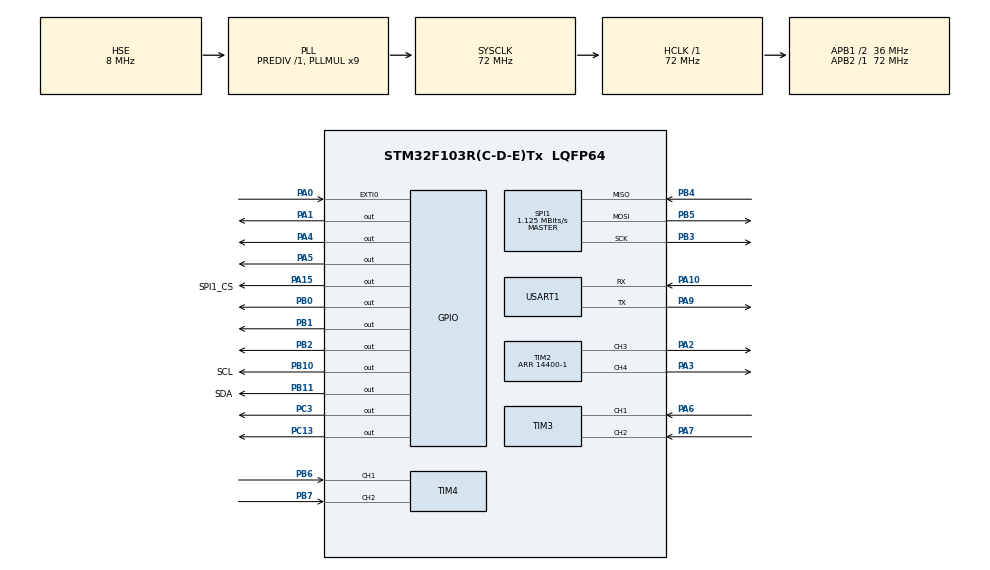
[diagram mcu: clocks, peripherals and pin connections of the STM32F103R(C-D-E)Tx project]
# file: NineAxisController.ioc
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Mcu.Family=STM32F1
Mcu.Name=STM32F103R(C-D-E)Tx
Mcu.Package=LQFP64
NVIC.EXTI0_IRQn=true\:0\:0\:false\:false\:true\:true\:true
NVIC.PriorityGroup=NVIC_PRIORITYGROUP_4
NVIC.TIM1_UP_IRQn=true\:2\:0\:true\:false\:true\:true\:true
NVIC.TIM5_IRQn=true\:2\:0\:true\:false\:true\:true\:true
NVIC.USART1_IRQn=true\:1\:0\:true\:false\:true\:true\:true
PA0-WKUP.Signal=GPXTI0
PA1.Signal=GPIO_Output
PA10.Mode=Asynchronous
PA10.Signal=USART1_RX
PA13.Mode=Serial_Wire
PA13.Signal=SYS_JTMS-SWDIO
PA14.Mode=Serial_Wire
PA14.Signal=SYS_JTCK-SWCLK
PA15.GPIO_Label=SPI1_CS
PA15.Signal=GPIO_Output
PA2.Signal=S_TIM2_CH3
PA3.Signal=S_TIM2_CH4
PA4.Signal=GPIO_Output
PA5.Signal=GPIO_Output
PA6.Signal=S_TIM3_CH1
PA7.Signal=S_TIM3_CH2
PA9.Mode=Asynchronous
PA9.Signal=USART1_TX
PB0.Signal=GPIO_Output
PB1.Signal=GPIO_Output
PB10.GPIO_Label=SCL
PB10.GPIO_ModeDefaultOutputPP=GPIO_MODE_OUTPUT_OD
PB10.GPIO_PuPd=GPIO_PULLUP
PB10.GPIO_Speed=GPIO_SPEED_FREQ_HIGH
PB10.Signal=GPIO_Output
PB11.GPIO_Label=SDA
PB11.GPIO_ModeDefaultOutputPP=GPIO_MODE_OUTPUT_OD
PB11.GPIO_PuPd=GPIO_PULLUP
PB11.GPIO_Speed=GPIO_SPEED_FREQ_HIGH
PB11.Signal=GPIO_Output
PB2.Signal=GPIO_Output
PB3.Mode=Full_Duplex_Master
PB3.Signal=SPI1_SCK
PB4.Mode=Full_Duplex_Master
PB4.Signal=SPI1_MISO
PB5.Mode=Full_Duplex_Master
PB5.Signal=SPI1_MOSI
PB6.Signal=S_TIM4_CH1
PB7.Signal=S_TIM4_CH2
PC13-TAMPER-RTC.Signal=GPIO_Output
PC14-OSC32_IN.Mode=LSE-External-Oscillator
PC14-OSC32_IN.Signal=RCC_OSC32_IN
PC15-OSC32_OUT.Mode=LSE-External-Oscillator
PC15-OSC32_OUT.Signal=RCC_OSC32_OUT
PC3.Signal=GPIO_Output
PD0-OSC_IN.Mode=HSE-External-Oscillator
PD0-OSC_IN.Signal=RCC_OSC_IN
PD1-OSC_OUT.Mode=HSE-External-Oscillator
PD1-OSC_OUT.Signal=RCC_OSC_OUT
ProjectManager.HeapSize=0x400
ProjectManager.StackSize=0x400
ProjectManager.TargetToolchain=STM32CubeIDE
RCC.AHBFreq_Value=72000000
RCC.APB1CLKDivider=RCC_HCLK_DIV2
RCC.APB1Freq_Value=36000000
RCC.APB1TimFreq_Value=72000000
RCC.APB2Freq_Value=72000000
RCC.APB2TimFreq_Value=72000000
RCC.HCLKFreq_Value=72000000
RCC.PLLMUL=RCC_PLL_MUL9
RCC.PLLSourceVirtual=RCC_PLLSOURCE_HSE
RCC.SYSCLKFreq_VALUE=72000000
RCC.SYSCLKSource=RCC_SYSCLKSOURCE_PLLCLK
RCC.USBFreq_Value=72000000
SH.S_TIM2_CH3.0=TIM2_CH3,PWM Generation3 CH3
SH.S_TIM2_CH4.0=TIM2_CH4,PWM Generation4 CH4
SH.S_TIM3_CH1.0=TIM3_CH1,Encoder_Interface
SH.S_TIM3_CH2.0=TIM3_CH2,Encoder_Interface
SH.S_TIM4_CH1.0=TIM4_CH1,Encoder_Interface
SH.S_TIM4_CH2.0=TIM4_CH2,Encoder_Interface
SPI1.BaudRatePrescaler=SPI_BAUDRATEPRESCALER_64
SPI1.CalculateBaudRate=1.125 MBits/s
SPI1.Direction=SPI_DIRECTION_2LINES
SPI1.Mode=SPI_MODE_MASTER
SPI1.VirtualType=VM_MASTER
TIM1.Period=1000-1
TIM1.Prescaler=72-1
TIM2.Channel-PWM\ Generation3\ CH3=TIM_CHANNEL_3
TIM2.Channel-PWM\ Generation4\ CH4=TIM_CHANNEL_4
TIM2.Period=14400-1
TIM3.EncoderMode=TIM_ENCODERMODE_TI12
TIM3.IC1Filter=3
TIM3.IC2Filter=3
TIM4.EncoderMode=TIM_ENCODERMODE_TI12
TIM4.IC1Filter=3
TIM4.IC2Filter=3
TIM5.Period=50000
TIM5.Prescaler=72-1
USART1.VirtualMode=VM_ASYNC
VP_TIM1_VS_ClockSourceINT.Mode=Internal
VP_TIM2_VS_ClockSourceINT.Mode=Internal
VP_TIM5_VS_ClockSourceINT.Mode=Internal
board=custom

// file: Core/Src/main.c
/* USER CODE BEGIN Header */
/**
  ******************************************************************************
  * @file           : main.c
  * @brief          : Main program body
  ******************************************************************************
  * @attention
  *
  * <h2><center>&copy; Copyright (c) 2021 STMicroelectronics.
  * All rights reserved.</center></h2>
  *
  * This software component is licensed by ST under BSD 3-Clause license,
  * the "License"; You may not use this file except in compliance with the
  * License. You may obtain a copy of the License at:
  *                        opensource.org/licenses/BSD-3-Clause
  *
  ******************************************************************************
  */
/* USER CODE END Header */
#include "main.h"
#include "spi.h"
#include "tim.h"
#include "usart.h"
#include "gpio.h"

/* USER CODE BEGIN Includes */
#include <stdio.h>
#include <string.h>
#include "encoder.h"
#include "contact.h"
#include "odometry.h"
#include "dmpKey.h"
#include "dmpmap.h"
#include "inv_mpu_dmp_motion_driver.h"
#include "storage_manager.h"
#include "inv_mpu.h"
#include "IOI2C.h"
//#include "../MPL/mpu6050.h"
#include "../delay/delay.h"
#include "mpu9250.h"
#include "W25QXX.h"
/* USER CODE END Includes */

/* USER CODE BEGIN PTD */
#define USART_REC_LEN  			16//200  	//定义接收字节长度
#define USART_SEN_LEN           84         //定义发�?�字节数
//#define DEFAULT_MPU_HZ 200
#define q30  1073741824.0f
//与IMU�??螺仪设置的量程有关，量程±500°，对应数据范围为±32768
//�??螺仪原始数据转换位弧�??(rad)单位�??1/65.5/57.30=0.00026644
//#define GYROSCOPE_RATIO   0.00026644f
//与IMU加�?�度计设置的量程有关，量程�?2g，对应数据范围�?32768
//加�?�度计原始数据转换位m/s^2单位�??32768/2g=32768/19.6=1671.84
//#define ACCEl_RATIO 	  1671.84f

// ---------------- POPULAR POLYNOMIALS ----------------
// CCITT:      x^16 + x^12 + x^5 + x^0                 (0x1021)
// CRC-16:     x^16 + x^15 + x^2 + x^0                 (0x8005)
#define         CRC_16_POLYNOMIALS      0x8005

/*****printf redirection*****/
#ifdef __GNUC__

#define PUTCHAR_PROTOTYPE int __io_putchar(int ch)

PUTCHAR_PROTOTYPE
{
 HAL_UART_Transmit(&huart1, (uint8_t*)&ch, 1, HAL_MAX_DELAY);
 return ch;
}
#endif
/*******************************/

// --------------------------------------------------------------
//      CRC16计算方法1:使用 256长度的校验表
// --------------------------------------------------------------
const uint8_t chCRCHTalbe[] =                                 // CRC 高位字节值表
{
0x00, 0xC1, 0x81, 0x40, 0x01, 0xC0, 0x80, 0x41, 0x01, 0xC0, 0x80, 0x41,
0x00, 0xC1, 0x81, 0x40, 0x01, 0xC0, 0x80, 0x41, 0x00, 0xC1, 0x81, 0x40,
0x00, 0xC1, 0x81, 0x40, 0x01, 0xC0, 0x80, 0x41, 0x01, 0xC0, 0x80, 0x41,
0x00, 0xC1, 0x81, 0x40, 0x00, 0xC1, 0x81, 0x40, 0x01, 0xC0, 0x80, 0x41,
0x00, 0xC1, 0x81, 0x40, 0x01, 0xC0, 0x80, 0x41, 0x01, 0xC0, 0x80, 0x41,
0x00, 0xC1, 0x81, 0x40, 0x01, 0xC0, 0x80, 0x41, 0x00, 0xC1, 0x81, 0x40,
0x00, 0xC1, 0x81, 0x40, 0x01, 0xC0, 0x80, 0x41, 0x00, 0xC1, 0x81, 0x40,
0x01, 0xC0, 0x80, 0x41, 0x01, 0xC0, 0x80, 0x41, 0x00, 0xC1, 0x81, 0x40,
0x00, 0xC1, 0x81, 0x40, 0x01, 0xC0, 0x80, 0x41, 0x01, 0xC0, 0x80, 0x41,
0x00, 0xC1, 0x81, 0x40, 0x01, 0xC0, 0x80, 0x41, 0x00, 0xC1, 0x81, 0x40,
0x00, 0xC1, 0x81, 0x40, 0x01, 0xC0, 0x80, 0x41, 0x01, 0xC0, 0x80, 0x41,
0x00, 0xC1, 0x81, 0x40, 0x00, 0xC1, 0x81, 0x40, 0x01, 0xC0, 0x80, 0x41,
0x00, 0xC1, 0x81, 0x40, 0x01, 0xC0, 0x80, 0x41, 0x01, 0xC0, 0x80, 0x41,
0x00, 0xC1, 0x81, 0x40, 0x00, 0xC1, 0x81, 0x40, 0x01, 0xC0, 0x80, 0x41,
0x01, 0xC0, 0x80, 0x41, 0x00, 0xC1, 0x81, 0x40, 0x01, 0xC0, 0x80, 0x41,
0x00, 0xC1, 0x81, 0x40, 0x00, 0xC1, 0x81, 0x40, 0x01, 0xC0, 0x80, 0x41,
0x00, 0xC1, 0x81, 0x40, 0x01, 0xC0, 0x80, 0x41, 0x01, 0xC0, 0x80, 0x41,
0x00, 0xC1, 0x81, 0x40, 0x01, 0xC0, 0x80, 0x41, 0x00, 0xC1, 0x81, 0x40,
0x00, 0xC1, 0x81, 0x40, 0x01, 0xC0, 0x80, 0x41, 0x01, 0xC0, 0x80, 0x41,
0x00, 0xC1, 0x81, 0x40, 0x00, 0xC1, 0x81, 0x40, 0x01, 0xC0, 0x80, 0x41,
0x00, 0xC1, 0x81, 0x40, 0x01, 0xC0, 0x80, 0x41, 0x01, 0xC0, 0x80, 0x41,
0x00, 0xC1, 0x81, 0x40
};

const uint8_t chCRCLTalbe[] =                                 // CRC 低位字节值表
{
0x00, 0xC0, 0xC1, 0x01, 0xC3, 0x03, 0x02, 0xC2, 0xC6, 0x06, 0x07, 0xC7,
0x05, 0xC5, 0xC4, 0x04, 0xCC, 0x0C, 0x0D, 0xCD, 0x0F, 0xCF, 0xCE, 0x0E,
0x0A, 0xCA, 0xCB, 0x0B, 0xC9, 0x09, 0x08, 0xC8, 0xD8, 0x18, 0x19, 0xD9,
0x1B, 0xDB, 0xDA, 0x1A, 0x1E, 0xDE, 0xDF, 0x1F, 0xDD, 0x1D, 0x1C, 0xDC,
0x14, 0xD4, 0xD5, 0x15, 0xD7, 0x17, 0x16, 0xD6, 0xD2, 0x12, 0x13, 0xD3,
0x11, 0xD1, 0xD0, 0x10, 0xF0, 0x30, 0x31, 0xF1, 0x33, 0xF3, 0xF2, 0x32,
0x36, 0xF6, 0xF7, 0x37, 0xF5, 0x35, 0x34, 0xF4, 0x3C, 0xFC, 0xFD, 0x3D,
0xFF, 0x3F, 0x3E, 0xFE, 0xFA, 0x3A, 0x3B, 0xFB, 0x39, 0xF9, 0xF8, 0x38,
0x28, 0xE8, 0xE9, 0x29, 0xEB, 0x2B, 0x2A, 0xEA, 0xEE, 0x2E, 0x2F, 0xEF,
0x2D, 0xED, 0xEC, 0x2C, 0xE4, 0x24, 0x25, 0xE5, 0x27, 0xE7, 0xE6, 0x26,
0x22, 0xE2, 0xE3, 0x23, 0xE1, 0x21, 0x20, 0xE0, 0xA0, 0x60, 0x61, 0xA1,
0x63, 0xA3, 0xA2, 0x62, 0x66, 0xA6, 0xA7, 0x67, 0xA5, 0x65, 0x64, 0xA4,
0x6C, 0xAC, 0xAD, 0x6D, 0xAF, 0x6F, 0x6E, 0xAE, 0xAA, 0x6A, 0x6B, 0xAB,
0x69, 0xA9, 0xA8, 0x68, 0x78, 0xB8, 0xB9, 0x79, 0xBB, 0x7B, 0x7A, 0xBA,
0xBE, 0x7E, 0x7F, 0xBF, 0x7D, 0xBD, 0xBC, 0x7C, 0xB4, 0x74, 0x75, 0xB5,
0x77, 0xB7, 0xB6, 0x76, 0x72, 0xB2, 0xB3, 0x73, 0xB1, 0x71, 0x70, 0xB0,
0x50, 0x90, 0x91, 0x51, 0x93, 0x53, 0x52, 0x92, 0x96, 0x56, 0x57, 0x97,
0x55, 0x95, 0x94, 0x54, 0x9C, 0x5C, 0x5D, 0x9D, 0x5F, 0x9F, 0x9E, 0x5E,
0x5A, 0x9A, 0x9B, 0x5B, 0x99, 0x59, 0x58, 0x98, 0x88, 0x48, 0x49, 0x89,
0x4B, 0x8B, 0x8A, 0x4A, 0x4E, 0x8E, 0x8F, 0x4F, 0x8D, 0x4D, 0x4C, 0x8C,
0x44, 0x84, 0x85, 0x45, 0x87, 0x47, 0x46, 0x86, 0x82, 0x42, 0x43, 0x83,
0x41, 0x81, 0x80, 0x40
};
/* USER CODE END PTD */

/* USER CODE BEGIN PV */
uint8_t keynumX; //exit var

uint32_t cr1its;

uint32_t icnt ;
uint16_t pulseR,pulseL;

extern struct PID Control_left;//
extern struct PID Control_right;//
float spdref;

uint8_t txBuf[4];
uint8_t ACKBuf[] = "The PWM duty setting.\r\n";
uint8_t rxBuf[6];
uint8_t aRxBuffer[1];			//HAL库USART接收Buffer
uint8_t flag = 0; //接收结束标志
static uint8_t state = 0; //消息接收状�??
static uint8_t recv_cnt = 0; //
static uint16_t header = 0; //
static uint8_t pkt_len; //消息长度
static uint16_t checksum = 0; //CRC

/***flash spi params*/
uint8_t wData[0x10];
uint8_t rData[0x10];
uint8_t ID[2];
static uint8_t  mpudateBuff[128]={0};
uint8_t calflg = 0;
uint8_t calQuatFlg = 0;
size_t size=0;
float yawavg[10]={};
float yawoffset = 0;

//encoder params
int16_t SpdSum1;
int16_t SpdSum2;
int16_t oldSpdSum1;
int16_t oldSpdSum2;
float Spd1;
float Spd2;
uint8_t dir1;
uint8_t dir2;
uint8_t dirEnc1;
uint8_t dirEnc2;
bool DirectionL;
bool DirectionR;
extern int16_t hSpeed_Buffer1[],hSpeed_Buffer2[];//左右轮�?�度缓存数组
extern float spd1PITuning,spd2PITuning; //PI tuning
uint8_t bSpeed_Buffer_Index = 0;//缓存左右轮编码数到数组变�??
uint8_t ret1,ret2;
//DMP setting orientation
//static signed char gyro_orientation[9] = {0, -1, 0, 1,0, 0, 0, 0, 1};
//short gyro[3], accel[3], sensors;
float fAccel[3],fGyro[3],fQuat[4];
//9轴IMU数据

unsigned char Send_Count;
//odometry params
//communication protocol define for receive data  to upper system
uint16_t sndCRCVal;
uint8_t odometry_data[USART_SEN_LEN]={0};   //发�?�给串口的里程计数组

float odometry_right=0,odometry_left=0;//串口得到的左右轮速度
extern float position_x,position_y,oriention,velocity_linear,velocity_angular,theta,linear_vel,angular_vel;         //计算得到的里程计数�??

uint8_t USART_RX_BUF[USART_REC_LEN];     //串口接收缓冲
extern uint16_t USART_RX_STA;                   //串口接收状�?�标志位

float Milemeter_L_Motor,Milemeter_R_Motor;     //dt时间内的左右轮�?�度,用于里程计计�??

union pusleData  //接收到的数据
{
	uint32_t pulse_d;    //左右轮脉�??
	uint8_t pulse_data[4];
}leftrightpulse;       //接收的左右轮数据

union imudata  //接收到的数据
{
	float imu_d;    //euler angle
	uint8_t imu_data[4];
}Pitch,Roll,Yaw,YawOS,Pitch1,Roll1,Yaw1;       //接收的左右轮数据

union quatdata  //接收到的数据
{
	float quat_d;    //四元�??
	uint8_t qua_data[4];
}q0,q1,q2,q3,q0_o,q1_o,q2_o,q3_o,q0_,q1_,q2_,q3_;

union quatdata_inv  //
{
	float quat_d;    //
	uint8_t qua_data[4];
}q0_inv,q1_inv,q2_inv,q3_inv;

union accdata  //
{
	float acc_d;    //
	uint8_t acc_data[4];
}x_acc,y_acc,z_acc;

union gyrodata  //
{
	float gyro_d;    //
	uint8_t gyro_data[4];
}x_gyro,y_gyro,z_gyro;

union recieveData  //接收到的数据
{
	float d;    //左右轮�?�度
	uint8_t data[4];
}leftdata,rightdata;       //接收的左右轮数据

union odometry  //里程计数据共用体
{
	float odoemtry_float;
	uint8_t odometry_char[4];
}x_data,y_data,vel_left,vel_right,theta_data,vel_linear,vel_angular;     //要发布的里程计数据，分别为：X，Y方向移动的距离，左轮速度，右轮�?�度，当前角度，线�?�度，角速度

uint8_t stateHandle=0; //用作处理主函数各种if，去掉多余的flag

/****************************************************************************************************************/

int32_t hPrevious_angle2, hPrevious_angle1;

/****************************************************************************************************************/

/* USER CODE END PV */

void SystemClock_Config(void);

/* USER CODE BEGIN 0 */
/*****************************************************
 * *************** DMP init function *****************
 * ***************************************************/
#define SAMPLING_FREQ 20.0f // 采样频率
volatile float integralFBx = 0.0f,  integralFBy = 0.0f, integralFBz = 0.0f; // integral error terms scaled by Ki
void Quaternion_Solution(float gx, float gy, float gz, float ax, float ay, float az)
{
  float recipNorm;
  float halfvx, halfvy, halfvz;
  float halfex, halfey, halfez;
  float qa, qb, qc;
  float q0 = 1.0f, q1 = 0.0f, q2 = 0.0f, q3 = 0.0f;
  float twoKp = 1.0f;     // 2 * proportional gain (Kp)
  float twoKi = 0.0f;     // 2 * integral gain (Ki)
  // Compute feedback only if accelerometer measurement valid (avoids NaN in accelerometer normalisation)
  if(!((ax == 0.0f) && (ay == 0.0f) && (az == 0.0f))) {
    // 首先把加速度计采集到的�??(三维向量)转化为单位向量，即向量除以模
    recipNorm = sqrt(ax * ax + ay * ay + az * az);
    ax /= recipNorm;
    ay /= recipNorm;
    az /= recipNorm;
    // 把四元数换算成方向余弦中的第三行的三个元�??
    halfvx = q1 * q3 - q0 * q2;
    halfvy = q0 * q1 + q2 * q3;
    halfvz = q0 * q0 - 0.5f + q3 * q3;
    //误差是估计的重力方向和测量的重力方向的交叉乘积之�??
    halfex = (ay * halfvz - az * halfvy);
    halfey = (az * halfvx - ax * halfvz);
    halfez = (ax * halfvy - ay * halfvx);
    // 计算并应用积分反馈（如果启用�??
    if(twoKi > 0.0f) {
      integralFBx += twoKi * halfex * (1.0f / SAMPLING_FREQ);  // integral error scaled by Ki
      integralFBy += twoKi * halfey * (1.0f / SAMPLING_FREQ);
      integralFBz += twoKi * halfez * (1.0f / SAMPLING_FREQ);
      gx += integralFBx;        // apply integral feedback
      gy += integralFBy;
      gz += integralFBz;
    }
    else {
      integralFBx = 0.0f;       // prevent integral windup
      integralFBy = 0.0f;
      integralFBz = 0.0f;
    }
    // Apply proportional feedback
    gx += twoKp * halfex;
    gy += twoKp * halfey;
    gz += twoKp * halfez;
  }
  // Integrate rate of change of quaternion
  gx *= (0.5f * (1.0f / SAMPLING_FREQ));   // pre-multiply common factors
  gy *= (0.5f * (1.0f / SAMPLING_FREQ));
  gz *= (0.5f * (1.0f / SAMPLING_FREQ));
  qa = q0;
  qb = q1;
  qc = q2;
  q0 += (-qb * gx - qc * gy - q3 * gz);
  q1 += (qa * gx + qc * gz - q3 * gy);
  q2 += (qa * gy - qb * gz + q3 * gx);
  q3 += (qa * gz + qb * gy - qc * gx);
  // Normalise quaternion
  recipNorm = sqrt(q0 * q0 + q1 * q1 + q2 * q2 + q3 * q3);
  q0 /= recipNorm;
  q1 /= recipNorm;
  q2 /= recipNorm;
  q3 /= recipNorm;
  q0_.quat_d = q0;
  q1_.quat_d = q1;
  q2_.quat_d = q2;
  q3_.quat_d = q3;
}

void Quat2Euler(void)
{
//	unsigned long sensor_timestamp;
//	unsigned char more;
//	long quat[4];

	 Pitch1.imu_d = asin(-2 * q1_inv.quat_d * q3_inv.quat_d + 2 * q0_inv.quat_d* q2_inv.quat_d)* 57.3;
	 Roll1.imu_d = atan2(2 * q2_inv.quat_d * q3_inv.quat_d + 2 * q0_inv.quat_d * q1_inv.quat_d, -2 * q1_inv.quat_d * q1_inv.quat_d - 2 * q2_inv.quat_d* q2_inv.quat_d + 1)* 57.3; // roll
	 Yaw1.imu_d = 	atan2(2*(q1_inv.quat_d*q2_inv.quat_d + q0_inv.quat_d*q3_inv.quat_d),q0_inv.quat_d*q0_inv.quat_d+q1_inv.quat_d*q1_inv.quat_d-q2_inv.quat_d*q2_inv.quat_d-q3_inv.quat_d*q3_inv.quat_d) * 57.3;//yaw
	 Roll1.imu_d = -Roll1.imu_d;
	 Yaw1.imu_d = -Yaw1.imu_d;

//	while(dmp_read_fifo(gyro, accel, quat, &sensor_timestamp, &sensors, &more)!=0);
//	if (sensors & INV_WXYZ_QUAT )
//	{
//		 q0.quat_d=quat[0] / q30;   //w
//		 q1.quat_d=quat[1] / q30;   //x
//		 q2.quat_d=quat[2] / q30;   //y
//		 q3.quat_d=quat[3] / q30;   //z
//		 Pitch1.imu_d = asin(-2 * q1.quat_d * q3.quat_d + 2 * q0.quat_d* q2.quat_d)* 57.3;
//		 Roll1.imu_d = atan2(2 * q2.quat_d * q3.quat_d + 2 * q0.quat_d * q1.quat_d, -2 * q1.quat_d * q1.quat_d - 2 * q2.quat_d* q2.quat_d + 1)* 57.3; // roll
//		 Yaw1.imu_d = 	atan2(2*(q1.quat_d*q2.quat_d + q0.quat_d*q3.quat_d),q0.quat_d*q0.quat_d+q1.quat_d*q1.quat_d-q2.quat_d*q2.quat_d-q3.quat_d*q3.quat_d) * 57.3;//yaw
//		 Roll1.imu_d = -Roll.imu_d;
//		 Yaw1.imu_d = -Yaw.imu_d;
//	}
//	if (sensors & INV_XYZ_ACCEL )
//	{
//		 x_acc.acc_d = accel[0]/ACCEl_RATIO;
//		 y_acc.acc_d = accel[1]/ACCEl_RATIO;
//		 z_acc.acc_d = accel[2]/ACCEl_RATIO;
//	}
//	if (sensors & INV_XYZ_GYRO )
//	{
//		 x_gyro.gyro_d = gyro[0]*GYROSCOPE_RATIO;
//		 y_gyro.gyro_d = gyro[1]*GYROSCOPE_RATIO;
//		 z_gyro.gyro_d = gyro[2]*GYROSCOPE_RATIO;
//	}

}

void Euler2Quat(float roll,float pitch,float yaw)
{
	roll  = roll*M_PI/180;
	pitch  = pitch*M_PI/180;
	yaw  = yaw*M_PI/180;
	q0.quat_d = cosf(roll/2)*cosf(pitch/2)*cosf(yaw/2)+sinf(roll/2)*sinf(pitch/2)*sinf(yaw/2);
	q1.quat_d = sinf(roll/2)*cosf(pitch/2)*cosf(yaw/2)-cosf(roll/2)*sinf(pitch/2)*sinf(yaw/2);
	q2.quat_d = cosf(roll/2)*sinf(pitch/2)*cosf(yaw/2)+sinf(roll/2)*cosf(pitch/2)*sinf(yaw/2);
	q3.quat_d = cosf(roll/2)*cosf(pitch/2)*sinf(yaw/2)-sinf(roll/2)*sinf(pitch/2)*cosf(yaw/2);
}

void Euler2Quat_O(float roll,float pitch,float yaw)
{
	roll  = roll*M_PI/180;
	pitch  = pitch*M_PI/180;
	yaw  = yaw*M_PI/180;
	q0_o.quat_d = cosf(roll/2)*cosf(pitch/2)*cosf(yaw/2)+sinf(roll/2)*sinf(pitch/2)*sinf(yaw/2);
	q1_o.quat_d = sinf(roll/2)*cosf(pitch/2)*cosf(yaw/2)-cosf(roll/2)*sinf(pitch/2)*sinf(yaw/2);
	q2_o.quat_d = cosf(roll/2)*sinf(pitch/2)*cosf(yaw/2)+sinf(roll/2)*cosf(pitch/2)*sinf(yaw/2);
	q3_o.quat_d = cosf(roll/2)*cosf(pitch/2)*sinf(yaw/2)-sinf(roll/2)*sinf(pitch/2)*cosf(yaw/2);
}

unsigned char DataScope_OutPut_Buffer[42];

void Float2Byte(float *target,unsigned char *buf,unsigned char beg)
{
    unsigned char *point;
    point = (unsigned char*)target;	  //
    buf[beg]   = point[0];
    buf[beg+1] = point[1];
    buf[beg+2] = point[2];
    buf[beg+3] = point[3];
}

void DataScope_Get_Channel_Data(float Data,unsigned char Channel)
{
	if ( (Channel > 10) || (Channel == 0) ) return;  //
  else
  {
     switch (Channel)
		{
      case 1:  Float2Byte(&Data,DataScope_OutPut_Buffer,1); break;
      case 2:  Float2Byte(&Data,DataScope_OutPut_Buffer,5); break;
		  case 3:  Float2Byte(&Data,DataScope_OutPut_Buffer,9); break;
		  case 4:  Float2Byte(&Data,DataScope_OutPut_Buffer,13); break;
		  case 5:  Float2Byte(&Data,DataScope_OutPut_Buffer,17); break;
		  case 6:  Float2Byte(&Data,DataScope_OutPut_Buffer,21); break;
		  case 7:  Float2Byte(&Data,DataScope_OutPut_Buffer,25); break;
		  case 8:  Float2Byte(&Data,DataScope_OutPut_Buffer,29); break;
		  case 9:  Float2Byte(&Data,DataScope_OutPut_Buffer,33); break;
		  case 10: Float2Byte(&Data,DataScope_OutPut_Buffer,37); break;
		}
  }
}

unsigned char DataScope_Data_Generate(unsigned char Channel_Number)
{
	if ( (Channel_Number > 10) || (Channel_Number == 0) ) { return 0; }  //
  else
  {
	 DataScope_OutPut_Buffer[0] = '$';  //帧头

	 switch(Channel_Number)
   {
		 case 1:   DataScope_OutPut_Buffer[5]  =  5; return  6;
		 case 2:   DataScope_OutPut_Buffer[9]  =  9; return 10;
		 case 3:   DataScope_OutPut_Buffer[13] = 13; return 14;
		 case 4:   DataScope_OutPut_Buffer[17] = 17; return 18;
		 case 5:   DataScope_OutPut_Buffer[21] = 21; return 22;
		 case 6:   DataScope_OutPut_Buffer[25] = 25; return 26;
		 case 7:   DataScope_OutPut_Buffer[29] = 29; return 30;
		 case 8:   DataScope_OutPut_Buffer[33] = 33; return 34;
		 case 9:   DataScope_OutPut_Buffer[37] = 37; return 38;
     case 10:  DataScope_OutPut_Buffer[41] = 41; return 42;
   }
  }
	return 0;
}

void DataScope(void)
{
//	unsigned char i;
	DataScope_Get_Channel_Data( Pitch.imu_d, 1 );
	DataScope_Get_Channel_Data( Roll.imu_d, 2 );
	DataScope_Get_Channel_Data( Yaw.imu_d, 3 );
	DataScope_Get_Channel_Data( YawOS.imu_d, 4 );
//	DataScope_Get_Channel_Data( Yaw1.imu_d, 5 );
//	DataScope_Get_Channel_Data( spd1PITuning , 1 );
//	DataScope_Get_Channel_Data(spdref, 2 ); //����Ҫ��ʾ�������滻0������
//		DataScope_Get_Channel_Data(0 , 6 );//����Ҫ��ʾ�������滻0������
//		DataScope_Get_Channel_Data(0, 7 );
//		DataScope_Get_Channel_Data( 0, 8 );
//		DataScope_Get_Channel_Data(0, 9 );
//		DataScope_Get_Channel_Data( 0 , 10);
	Send_Count = DataScope_Data_Generate(4);//parameter is channel numbers
	HAL_UART_Transmit_IT(&huart1,(uint8_t*)&DataScope_OutPut_Buffer,Send_Count);
//	for( i = 0 ; i < Send_Count; i++)
//	{
//		unsigned char val;
//		val = DataScope_OutPut_Buffer[i];
//		HAL_UART_Transmit_IT(&huart1,val,sizeof(unsigned char));
//	}
}

/*******************************************************
 * *****************************************************/

uint16_t CRC16(uint8_t* pchMsg, uint16_t wDataLen)
{
	uint8_t chCRCHi = 0xFF; // 高CRC字节初始�??
	uint8_t chCRCLo = 0xFF; // 低CRC字节初始�??
	uint16_t wIndex;            // CRC循环中的索引

	while (wDataLen--)
	{
			// 计算CRC
			wIndex = chCRCLo ^ *pchMsg++ ;
			chCRCLo = chCRCHi ^ chCRCHTalbe[wIndex];
			chCRCHi = chCRCLTalbe[wIndex] ;
	}

	return ((chCRCHi << 8) | chCRCLo) ;
}

//EXINT Callback PA0
void HAL_GPIO_EXTI_Callback(uint16_t GPIO_Pin)//外部中断
{
	//TO-DO encoder process
 /* Prevent unused argument(s) compilation warning */
  UNUSED(GPIO_Pin);
  /* NOTE: This function Should not be modified, when the callback is needed,
		   the HAL_GPIO_EXTI_Callback could be implemented in the user file
   */
//  if(GPIO_Pin==GPIO_PIN_0)//编码器计数，�?????????????????????????????????????????????????测到PB15(A�?????????????????????????????????????????????????)跳变�?????????????????????????????????????????????????
//  {
//	if (HAL_GPIO_ReadPin(GPIOA,GPIO_PIN_1)==1)//PB3(B�?????????????????????????????????????????????????)高电平正�?????????????????????????????????????????????????
//		SpdSum1++;
//
//	else
//		SpdSum1--;
//  }
//  if(GPIO_Pin==GPIO_PIN_6)//编码器计数，�?????????????????????????????????????????????????测到PB15(A�?????????????????????????????????????????????????)跳变�?????????????????????????????????????????????????
//  {
//	if (HAL_GPIO_ReadPin(GPIOA,GPIO_PIN_7)==1)//PB3(B�?????????????????????????????????????????????????)高电平正�?????????????????????????????????????????????????
//		SpdSum2++;
//	else
//		SpdSum2--;
//  }

    if(GPIO_Pin==GPIO_PIN_0)//
    {
    	calflg = 1;
//    	 HAL_UART_Transmit(&huart1,ACKBuf,sizeof(ACKBuf),0xff);

/*********************************************************************************/
/*********test motor control ************************/
//    	switch(keynumX)
//    	{
//			case 0:
////				 Control_right.Sum_error = 0;
//				 spdref=0.5;
//				 HAL_TIM_PWM_Start(&htim2, TIM_CHANNEL_3);
//				 HAL_GPIO_WritePin(GPIOC, GPIO_PIN_3, GPIO_PIN_SET);
//				 HAL_GPIO_WritePin(GPIOA, GPIO_PIN_1, GPIO_PIN_RESET);
//				 keynumX++;
////				HAL_UART_Transmit(&huart1,"a",1,0xff);
//				 break;
//			case 1:
////				  Control_right.Sum_error = 0;
//				  spdref =-0.5;
//				  HAL_GPIO_WritePin(GPIOC, GPIO_PIN_3, GPIO_PIN_RESET);
//				  HAL_GPIO_WritePin(GPIOA, GPIO_PIN_1, GPIO_PIN_SET);
//				  keynumX++;
////				HAL_UART_Transmit(&huart1,"b",1,0xff);
//				  break;
//			case 2:
////				Control_right.Sum_error = 0;
//				  spdref = 0;
//				  HAL_TIM_PWM_Stop(&htim2, TIM_CHANNEL_3);
//				  HAL_GPIO_WritePin(GPIOC, GPIO_PIN_3, GPIO_PIN_RESET);
//				  HAL_GPIO_WritePin(GPIOA, GPIO_PIN_1, GPIO_PIN_RESET);
//				  keynumX = 0;
////				HAL_UART_Transmit(&huart1,"c",1,0xff);
//				  break;
//			default:
//				  break;
//    	}

    }
}

/*
 * Encoder interrupt callback
 * */
void HAL_TIM_IC_CaptureCallback(TIM_HandleTypeDef *htim)
{
	if(htim->Instance == TIM4)
	{

		oldSpdSum1++;
		if(htim->Instance->CR1==0x01)//顺时�??
			dirEnc1=1;
		if(htim->Instance->CR1==0x11)//逆时�??
			dirEnc1=2;
	}
	if(htim->Instance == TIM3)
	{
		oldSpdSum2++;
		if(htim->Instance->CR1==0x01)//顺时�??
			dirEnc2=1;
		if(htim->Instance->CR1==0x11)//逆时�??
			dirEnc2=2;
	}
}

/*
 * UART Error CallBack
 * */
void HAL_UART_ErrorCallback(UART_HandleTypeDef *huart)
{
	if(huart == &huart1)
	{
		__HAL_UART_CLEAR_OREFLAG(&huart1);
		__HAL_UNLOCK(&huart1);
		HAL_UART_Receive_IT(&huart1, (uint8_t *)aRxBuffer, 1);
	}
}

/*
 * UART Receive Callback to jetson NX
 * */

void HAL_UART_RxCpltCallback(UART_HandleTypeDef *huart)
{
	//TO-DO uart receive process
/**
 * communication protocol define for receive data  from upper system
 * frame header 0x55 0xAA
 * function code 0x01->startup,0x02->receive spd cmd,0x03->stop,0x04->others
 * length
 * data
 * CRC 2 bytes
 * startup frame example:0x55 0xAA 0x01 0x0a,dir1,dir2,spd1_B1,spd1_B2 spd1_B3 spd1_B4 spd2_B1 spd2_B2 spd2_B3 spd2_B4 CRCL,CRCH (dir.x=1->forward,dir.x=2->backward)
 * spd cmd frame example:0x55 0xAA 0x01 0x0a,spd1_B1,spd1_B2 spd1_B3 spd1_B4 spd2_B1 spd2_B2 spd2_B3 spd2_B4 0x00 CRCL,CRCH (spd.x_B.x:float)
 * stop  frame  example: 0x55 0xAA 0x01 0x0a,0x00,0x00 0x00 0x00 0x00 0x00 0x00 0x00 0x00 CRCL,CRCH
 */
/* Prevent unused argument(s) compilation warning */
  UNUSED(huart);
  /* NOTE: This function should not be modified, when the callback is needed,
		   the HAL_UART_RxCpltCallback could be implemented in the user file
   */
  uint8_t t =0;
  if(huart->Instance == USART1)
  {
	  HAL_GPIO_WritePin(GPIOB, GPIO_PIN_2, GPIO_PIN_SET);
//	  usart1_tim = 1;
	  if(flag!=1)
	  {
		  if(state == 0)
		  {
			  if(aRxBuffer[0] ==0x55)
			      header = 0x0055;
			  else if(aRxBuffer[0] ==0xAA)
			  {
				  header=(header<<8)|aRxBuffer[0];
				  if(header==0x55AA)
				  {//收到包头
					  state=1;
					  USART_RX_BUF[0]=0x55;
					  USART_RX_BUF[1]=0xAA;
					  recv_cnt=2;
				  }
			  }
			  else
				  header = 0;
		  }
		  else if(state ==1)
		  {
			  USART_RX_BUF[recv_cnt++]=aRxBuffer[0];
			  state =2;
		  }
		  else if(state ==2)
		  {
			  pkt_len=aRxBuffer[0];
			  USART_RX_BUF[recv_cnt++]=pkt_len;
			  if(pkt_len==10)
				  state=3;
			  else
				  state=0;
		  }
		  else if(state ==3)
		  {
			 USART_RX_BUF[recv_cnt++]=aRxBuffer[0];
		     if(recv_cnt-4==pkt_len) //pkt_len
		    	 state=4;
//		     else if(pkt_len!=10)
//		    	 state=0;

		  }
		  else if(state == 4)
		  {
			  USART_RX_BUF[recv_cnt++]=aRxBuffer[0];
//			  checksum = USART_RX_BUF[recv_cnt];
			  state=5;

		  }
		  else if(state == 5)
		  {
			  USART_RX_BUF[recv_cnt++]=aRxBuffer[0];
//			  checksum = checksum<<8|USART_RX_BUF[recv_cnt];
			  checksum = CRC16(USART_RX_BUF,USART_REC_LEN-2);
			  if (checksum == (uint16_t)(USART_RX_BUF[14]<<8|USART_RX_BUF[15]))  //ros 14<<8 sscom 15<<8
			  {
				  if(USART_RX_BUF[2]==0x01)
				  {
					  //startup motor
					 // HAL_TIM_PWM_Start(&htim4, TIM_CHANNEL_2);
					 // HAL_TIM_PWM_Start(&htim4, TIM_CHANNEL_3);
		  //			  HAL_TIM_PWM_Start(&htim3, TIM_CHANNEL_3);
		  //			  HAL_TIM_PWM_Start(&htim3, TIM_CHANNEL_4);
					  dir1 = USART_RX_BUF[4];
					  dir2 = USART_RX_BUF[5];
					  for(t=0;t<4;t++)
					  {
						  rightdata.data[t]=USART_RX_BUF[t+6];
						  leftdata.data[t]=USART_RX_BUF[t+10];
					  }

					  //储存左右轮�?�度
					  odometry_right=rightdata.d;//单位mm/s
					  odometry_left=leftdata.d;//单位mm/s
					  if(dir1==1)
					  {
						  HAL_GPIO_WritePin(GPIOC, GPIO_PIN_3, GPIO_PIN_RESET);
						  HAL_GPIO_WritePin(GPIOA, GPIO_PIN_1, GPIO_PIN_SET);
		  //				  rightdata.d = -rightdata.d;

					  }
					  if(dir1==2)
					  {
						  HAL_GPIO_WritePin(GPIOC, GPIO_PIN_3, GPIO_PIN_SET);
						  HAL_GPIO_WritePin(GPIOA, GPIO_PIN_1, GPIO_PIN_RESET);
					  }
					  if(dir2==1)
					  {
						  HAL_GPIO_WritePin(GPIOA, GPIO_PIN_4, GPIO_PIN_RESET);
						  HAL_GPIO_WritePin(GPIOA, GPIO_PIN_5, GPIO_PIN_SET);
		  //				  leftdata.d = -leftdata.d;
					  }
					  else if(dir2==2)
					  {
						  HAL_GPIO_WritePin(GPIOA, GPIO_PIN_4, GPIO_PIN_SET);
						  HAL_GPIO_WritePin(GPIOA, GPIO_PIN_5, GPIO_PIN_RESET);
					  }
					  else
					  {

					  }

//					  HAL_UART_Transmit_IT(&huart1,ACKBuf,sizeof(ACKBuf));
				  }
				  if(USART_RX_BUF[2]==0x02)
				  {
					  //receive spd cmd
					  //接收左右轮�?�度
					  for(t=0;t<4;t++)
					  {
						  rightdata.data[t]=USART_RX_BUF[t+4];
						  leftdata.data[t]=USART_RX_BUF[t+8];
					  }

					  //储存左右轮�?�度
					  odometry_right=rightdata.d;//单位mm/s
					  odometry_left=leftdata.d;//单位mm/s
//					  HAL_UART_Transmit_IT(&huart1,ACKBuf,sizeof(ACKBuf));

				  }
				  if(USART_RX_BUF[2]==0x03)
				  {
					  // stop motor
					  HAL_TIM_PWM_Stop(&htim2, TIM_CHANNEL_3);
					  HAL_TIM_PWM_Stop(&htim2, TIM_CHANNEL_4);
		  //			  HAL_TIM_PWM_Stop(&htim3, TIM_CHANNEL_3);
		  //			  HAL_TIM_PWM_Stop(&htim3, TIM_CHANNEL_4);
					  HAL_GPIO_WritePin(GPIOC, GPIO_PIN_3, GPIO_PIN_RESET);
					  HAL_GPIO_WritePin(GPIOA, GPIO_PIN_1, GPIO_PIN_RESET);
					  HAL_GPIO_WritePin(GPIOA, GPIO_PIN_4, GPIO_PIN_RESET);
					  HAL_GPIO_WritePin(GPIOA, GPIO_PIN_5, GPIO_PIN_RESET);
//					  HAL_UART_Transmit_IT(&huart1,ACKBuf,sizeof(ACKBuf));
				  }
			  }
//			  flag=1;
			  state=0;
			  recv_cnt=0;

		  }
	  }
	  HAL_UART_Receive_IT(&huart1, (uint8_t *)aRxBuffer, 1);
	  HAL_GPIO_WritePin(GPIOB, GPIO_PIN_2, GPIO_PIN_RESET);
//      usart1_tim = 0;
  }

}

// timer interrupt callback 1ms period

void HAL_TIM_PeriodElapsedCallback(TIM_HandleTypeDef *htim)
{

	if(htim->Instance == TIM1)
	{
		HAL_GPIO_WritePin(GPIOB, GPIO_PIN_1, GPIO_PIN_SET);
//		tim1_tim = 1;
		icnt++;
		stateHandle |= 0x01;

		//encoder1
		SpdSum1 = (int16_t)(__HAL_TIM_GET_COUNTER(&htim4));//获取定时器的�??(divided by 4 for both rise and fall edge counting)
		__HAL_TIM_SET_COUNTER(&htim4, 0);
		Spd1 = (float)SpdSum1;
		hSpeed_Buffer1[bSpeed_Buffer_Index] = SpdSum1;//temp2;right

		//encoder2
		SpdSum2 = (int16_t)(__HAL_TIM_GET_COUNTER(&htim3));//获取定时器的�??
		__HAL_TIM_SET_COUNTER(&htim3, 0);
		Spd2 = (float)SpdSum2;
		hSpeed_Buffer2[bSpeed_Buffer_Index] = SpdSum2;//left

		//储存编码数（脉冲数），用于里程计计算
		Milemeter_L_Motor= Spd2;//(float)temp2; //储存脉冲数组
		Milemeter_R_Motor= Spd1;//float)temp4;
		odometry(Milemeter_R_Motor,Milemeter_L_Motor);//计算里程�??

		bSpeed_Buffer_Index++;//数组移位
		//缓存左右轮编码数到数组结束判�??
		if(bSpeed_Buffer_Index >=SPEED_BUFFER_SIZE)
		{
			bSpeed_Buffer_Index=0;//缓存左右轮编码数到数组变量清�??
		}

		ENC_Calc_Average_Speed();//计算三次电机的平均编码数

		pulseR = (uint16_t)Gain1(); //电机A转动 PID调节控制right
		htim2.Instance->CCR3 = pulseR;
//		tim1_tim = 0;
		pulseL = (uint16_t)Gain2(); //电机B转动 PID调节控制left
//		__HAL_TIM_SET_COMPARE(&htim4,TIM_CHANNEL_2,pulseR); //PB7 ch1
//		__HAL_TIM_SET_COMPARE(&htim4,TIM_CHANNEL_3,pulseL); //PB8 ch2
		htim2.Instance->CCR4 = pulseL;
		HAL_GPIO_WritePin(GPIOB, GPIO_PIN_1, GPIO_PIN_RESET);
//		tim1_tim = 0;
		leftrightpulse.pulse_d = pulseL<<16|pulseR;
	}
	if(htim->Instance == TIM5){
		if(calQuatFlg){
			if(mpu_mpl_get_data(&Pitch.imu_d,&Roll.imu_d,&Yaw.imu_d,&x_acc.acc_d,&y_acc.acc_d,&z_acc.acc_d,&x_gyro.gyro_d,&y_gyro.gyro_d,&z_gyro.gyro_d,&q0_inv.quat_d,&q1_inv.quat_d,&q2_inv.quat_d,&q3_inv.quat_d)==0)
			{
			  Yaw.imu_d = Yaw.imu_d+180;
			  YawOS.imu_d = Yaw.imu_d-yawoffset;
			  YawOS.imu_d = fmod(YawOS.imu_d+360,360);
			  Euler2Quat(Roll.imu_d,Pitch.imu_d,YawOS.imu_d);
//			  Euler2Quat_O(Roll.imu_d,Pitch.imu_d,Yaw.imu_d);
//			  Quaternion_Solution(x_gyro.gyro_d, y_gyro.gyro_d, z_gyro.gyro_d, x_acc.acc_d, y_acc.acc_d, z_acc.acc_d);

//			  Quat2Euler();
//			  DataScope();
	//		  printf("Pitch: %.2f,Roll: %.2f,Yaw: %.2f.\r\n",Pitch.imu_d,Roll.imu_d,Yaw.imu_d);
//					  printf("q0_o: %.2f,q1_o: %.2f,q2_o: %.2f,q3_o: %.2f.\r\n",q0_o.quat_d,q1_o.quat_d,q2_o.quat_d,q3_o.quat_d);
//					  printf("q0_: %.2f,q1_: %.2f,q2_: %.2f,q3_: %.2f.\r\n",q0_.quat_d,q1_.quat_d,q2_.quat_d,q3_.quat_d);
	//		  printf("Pitch: %.2f,Roll: %.2f,YawOS: %.2f.\r\n",Pitch.imu_d,Roll.imu_d,YawOS.imu_d);
//					  printf("q0: %.2f,q1: %.2f,q2: %.2f,q3: %.2f.\r\n",q0.quat_d,q1.quat_d,q2.quat_d,q3.quat_d);
	////
	//		  printf("q0_inv: %.2f,q1_inv: %.2f,q2_inv: %.2f,q3_inv: %.2f.\r\n",q0_inv.quat_d,q1_inv.quat_d,q2_inv.quat_d,q3_inv.quat_d);
			}
			else{
			  delay_ms(100);
			//		  printf("get data error.\r\n");
			}
		}
	}
}

/* USER CODE END 0 */

int main(void)
{

  /* MCU Configuration--------------------------------------------------------*/

  /* Reset of all peripherals, Initializes the Flash interface and the Systick. */
  HAL_Init();

  /* USER CODE BEGIN Init */
  keynumX = 0;
   spdref = 0;
 //  mainloop_tim = 0;
 //  tim1_tim = 0;
 //  usart1_tim = 0;

   pulseR = 0;
   pulseL = 0;

   SpdSum1 = 0;
   SpdSum2 = 0;
 //  oldSpdSum1 = -10;
 //  oldSpdSum2 = 0;
   Spd1 = 0.0;
   Spd2 = 0.0;
   dir1=0;
   dir2=0;
   dirEnc1=0;
   dirEnc2=0;
   uint8_t j=0;

   q0.quat_d=1.0f,q1.quat_d=0.0f,q2.quat_d=0.0f,q3.quat_d=0.0f;

   ENC_Clear_Speed_Buffer();

   /**************clear counter of encoder timer*/
 //  __HAL_TIM_SetCounter(&htim2,0);
 //  __HAL_TIM_SetCounter(&htim3,0);

 //  IIC_Init();                     //=====模拟IIC初始�??
  /* USER CODE END Init */

  /* Configure the system clock */
  SystemClock_Config();

  /* Initialize all configured peripherals */
  MX_GPIO_Init();
  MX_TIM1_Init();
  MX_USART1_UART_Init();
  MX_TIM2_Init();
  MX_TIM3_Init();
  MX_TIM4_Init();
  MX_SPI1_Init();
  MX_TIM5_Init();
  /* USER CODE BEGIN 2 */
  HAL_TIM_Base_Start_IT(&htim1);//定时�??1�??
  HAL_TIM_Base_Start_IT(&htim5);//定时�??5�??
  ret1 = HAL_TIM_Encoder_Start(&htim4,TIM_CHANNEL_ALL);
  HAL_TIM_Encoder_Start(&htim3,TIM_CHANNEL_ALL);
    /***********start up IT to cal direction in callback function************/
  //  ret2 = HAL_TIM_Encoder_Start_IT(&htim2,TIM_CHANNEL_ALL);//这里TIM_CHANNEL_1/TIM_CHANNEL_ALL均可
  //  HAL_TIM_Encoder_Start_IT(&htim3,TIM_CHANNEL_ALL);//这里TIM_CHANNEL_1/TIM_CHANNEL_ALL均可
   /*********flash spi init**************/
    BSP_W25Qx_Init();
    BSP_W25Qx_Read_ID(ID);
    printf("W25Qxxx ID is : 0x%02X 0x%02X \r\n",ID[0],ID[1]);

   /************************************/
    delay_init(72);
    //disable LN298
    HAL_GPIO_WritePin(GPIOC, GPIO_PIN_3, GPIO_PIN_RESET);
    HAL_GPIO_WritePin(GPIOA, GPIO_PIN_1, GPIO_PIN_RESET);
    HAL_GPIO_WritePin(GPIOA, GPIO_PIN_4, GPIO_PIN_RESET);
    HAL_GPIO_WritePin(GPIOA, GPIO_PIN_5, GPIO_PIN_RESET);
    HAL_GPIO_WritePin(GPIOC, GPIO_PIN_13, GPIO_PIN_RESET);
    HAL_UART_Receive_IT(&huart1, (uint8_t*)USART_RX_BUF, sizeof(USART_RX_BUF));
  //  HAL_UART_Receive_IT(&huart1, (uint8_t *)aRxBuffer, 1);
    HAL_TIM_PWM_Stop(&htim2,TIM_CHANNEL_3);
    HAL_TIM_PWM_Stop(&htim2,TIM_CHANNEL_4);
    HAL_TIM_PWM_Start(&htim2, TIM_CHANNEL_3);
    HAL_TIM_PWM_Start(&htim2, TIM_CHANNEL_4);

    /*****MPU9250 init*******/
    if(!MPU9250_Init())             	//初始化MPU9250
  	  printf("mpu init is ok.\r\n");
    else
  	  printf("mpu9250 init failed.\r\n");
    if(!mpu_dmp_init()){
  	  printf("dmp int is ok.\r\n");
  	  delay_ms(200);
    }
    else
  	  printf("dmp int faied.\r\n");

    if(!BSP_W25Qx_Read(mpudateBuff,0x00,sizeof(mpudateBuff))){//读取mpu9250校准数据
		printf("read mpl states success.\r\n");
		printf("read states: %d,%d,%d,%d......\r\n",mpudateBuff[0],mpudateBuff[1],mpudateBuff[2],mpudateBuff[3]);
	}
    else{
    	printf("read mpl states fail.\r\n");
    }
	if(inv_load_mpl_states(mpudateBuff,sizeof(mpudateBuff))==INV_SUCCESS)
	{
		printf("=======inv_load_mpl_states ok====================\r\n");
	}
	else
	{
		printf("=======inv_load_mpl_states error====================\r\n");
	}

	//init euler angle
	uint8_t avgcnt = 0;
	do{
		calQuatFlg = 0;
		 if(mpu_mpl_get_data(&Pitch.imu_d,&Roll.imu_d,&Yaw.imu_d,&x_acc.acc_d,&y_acc.acc_d,&z_acc.acc_d,&x_gyro.gyro_d,&y_gyro.gyro_d,&z_gyro.gyro_d,&q0_inv.quat_d,&q1_inv.quat_d,&q2_inv.quat_d,&q3_inv.quat_d)==0)
		  {
			 yawavg[avgcnt] = Yaw.imu_d+180;
			 avgcnt++;
		  }
		  else{
			  delay_ms(100);
	//		  printf("get data error.\r\n");
		  }
	}while(avgcnt<=10);
	calQuatFlg = 1;
	yawoffset = (yawavg[5]+yawavg[6]+yawavg[7]+yawavg[8]+yawavg[9])/5;
    /***********************/

  /* USER CODE END 2 */

  /* Infinite loop */
  while (1)
  {

    /* USER CODE BEGIN 3 */
	  HAL_GPIO_WritePin(GPIOC, GPIO_PIN_13, GPIO_PIN_SET);
//	  mainloop_tim = 1;
//	  Read_DMP();
	  delay_ms(20);
	  if(calflg == 1)
	  {
	/*********save mpl calibration params**********************************************/
		if(inv_get_mpl_state_size(&size)==0)
		{
			printf("=======inv_get_mpl_state_size ok====================\r\n");
			printf("mpl state size:%d\r\n",size);
			if(inv_save_mpl_states(mpudateBuff,sizeof(mpudateBuff))==0)
			{
				printf("=======inv_save_mpl_states ok====================\r\n");
				printf("write states: %d,%d,%d,%d......\r\n",mpudateBuff[0],mpudateBuff[1],mpudateBuff[2],mpudateBuff[3]);
				  if(BSP_W25Qx_Erase_Block(0) == W25Qx_OK)
					  printf(" SPI Erase Block ok\r\n");
				  else
					  printf(" SPI Erase Block fail.\r\n");
				if(!BSP_W25Qx_Write(mpudateBuff,0x00,sizeof(mpudateBuff)))
					printf("flash write success.\r\n");
				else
					printf("flash write fail.\r\n");

			}
			else
			{
				printf("=======inv_save_mpl_states error====================\r\n");
			}
			calflg =0;
		}
	  }
//	  if(mpu_mpl_get_data(&Pitch.imu_d,&Roll.imu_d,&Yaw.imu_d,&x_acc.acc_d,&y_acc.acc_d,&z_acc.acc_d,&x_gyro.gyro_d,&y_gyro.gyro_d,&z_gyro.gyro_d,&q0_inv.quat_d,&q1_inv.quat_d,&q2_inv.quat_d,&q3_inv.quat_d)==0)
//	  {
//		  Yaw.imu_d = Yaw.imu_d+180;
//		  YawOS.imu_d = Yaw.imu_d-yawoffset;
////		  YawOS.imu_d = YawOS.imu_d+180;
//		  Euler2Quat(Roll.imu_d,Pitch.imu_d,YawOS.imu_d);
//		  Euler2Quat_O(Roll.imu_d,Pitch.imu_d,Yaw.imu_d);
//
////		  Quat2Euler();
////		  DataScope();
////		  printf("Pitch: %.2f,Roll: %.2f,Yaw: %.2f.\r\n",Pitch.imu_d,Roll.imu_d,Yaw.imu_d);
////		  printf("q0_o: %.2f,q1_o: %.2f,q2_o: %.2f,q3_o: %.2f.\r\n",q0_o.quat_d,q1_o.quat_d,q2_o.quat_d,q3_o.quat_d);
////		  printf("Pitch: %.2f,Roll: %.2f,YawOS: %.2f.\r\n",Pitch.imu_d,Roll.imu_d,YawOS.imu_d);
////		  printf("q0: %.2f,q1: %.2f,q2: %.2f,q3: %.2f.\r\n",q0.quat_d,q1.quat_d,q2.quat_d,q3.quat_d);
//////
////		  printf("q0_inv: %.2f,q1_inv: %.2f,q2_inv: %.2f,q3_inv: %.2f.\r\n",q0_inv.quat_d,q1_inv.quat_d,q2_inv.quat_d,q3_inv.quat_d);
//	  }
//	  else{
//		  delay_ms(100);
////		  printf("get data error.\r\n");
//	  }

	  /*
	   * uart overrun error self recovery
	   * */
	  cr1its  = READ_REG(huart1.Instance->CR1);
	  if((cr1its & USART_CR1_RXNEIE) ==0)
		  HAL_UART_Receive_IT(&huart1, (uint8_t *)aRxBuffer, 1);

	  HAL_GPIO_WritePin(GPIOB, GPIO_PIN_0, GPIO_PIN_SET);

	  if(stateHandle&0x01)
	  {
		 x_data.odoemtry_float=position_x;//单位mm
		 y_data.odoemtry_float=position_y;//单位mm
		 theta_data.odoemtry_float=theta;//单位rad
		 vel_linear.odoemtry_float=linear_vel;//单位mm/s
		 vel_angular.odoemtry_float=angular_vel;//单位rad/s

	   //将所有里程计数据存到要发送的数组
		odometry_data[0] =0xAA;
		odometry_data[1] =0x55;
		odometry_data[2] =0x01;
		odometry_data[3] =0x4c; //

		for(j=0;j<4;j++)
		{
			odometry_data[j+4]=x_data.odometry_char[j];
			odometry_data[j+8]=y_data.odometry_char[j];
			odometry_data[j+12]=theta_data.odometry_char[j];
			odometry_data[j+16]=vel_linear.odometry_char[j];
			odometry_data[j+20]=vel_angular.odometry_char[j];
			odometry_data[j+24]=leftrightpulse.pulse_data[j];
			odometry_data[j+28]=Pitch.imu_data[j];
			odometry_data[j+32]=Roll.imu_data[j];
			odometry_data[j+36]=Yaw.imu_data[j];
			odometry_data[j+40]=q0.qua_data[j];
			odometry_data[j+44]=q1.qua_data[j];
			odometry_data[j+48]=q2.qua_data[j];
			odometry_data[j+52]=q3.qua_data[j];
			odometry_data[j+56]=x_acc.acc_data[j];
			odometry_data[j+60]=y_acc.acc_data[j];
			odometry_data[j+64]=z_acc.acc_data[j];
			odometry_data[j+68]=x_gyro.gyro_data[j];
			odometry_data[j+72]=y_gyro.gyro_data[j];
			odometry_data[j+76]=z_gyro.gyro_data[j];
		}
         sndCRCVal = CRC16(odometry_data,USART_SEN_LEN-4);
		 odometry_data[80] =sndCRCVal;
		 odometry_data[81] =sndCRCVal>>8;
		 odometry_data[82]=0x0d;//添加结束�??
		 odometry_data[83]=0x0a;//添加结束�??

		//发�?�至上位�??
//		HAL_UART_Transmit_IT(&huart1,odometry_data,sizeof(odometry_data));
		HAL_UART_Transmit(&huart1,odometry_data,sizeof(odometry_data),0xfff); //
		stateHandle&=0xFE;//state machine
	  }

	  car_control(rightdata.d,leftdata.d);	 //将接收到的左右轮速度赋给小车
//	  car_control(-30,30);	 //将接收到的左右轮速度赋给小车
	  HAL_GPIO_WritePin(GPIOB, GPIO_PIN_0, GPIO_PIN_RESET);
//	  mainloop_tim = 0;
	  HAL_GPIO_WritePin(GPIOC, GPIO_PIN_13, GPIO_PIN_RESET);
  }
  /* USER CODE END 3 */
}

void SystemClock_Config(void)
{
  RCC_OscInitTypeDef RCC_OscInitStruct = {0};
  RCC_ClkInitTypeDef RCC_ClkInitStruct = {0};

  /** Initializes the RCC Oscillators according to the specified parameters
  * in the RCC_OscInitTypeDef structure.
  */
  RCC_OscInitStruct.OscillatorType = RCC_OSCILLATORTYPE_HSE;
  RCC_OscInitStruct.HSEState = RCC_HSE_ON;
  RCC_OscInitStruct.HSEPredivValue = RCC_HSE_PREDIV_DIV1;
  RCC_OscInitStruct.HSIState = RCC_HSI_ON;
  RCC_OscInitStruct.PLL.PLLState = RCC_PLL_ON;
  RCC_OscInitStruct.PLL.PLLSource = RCC_PLLSOURCE_HSE;
  RCC_OscInitStruct.PLL.PLLMUL = RCC_PLL_MUL9;
  if (HAL_RCC_OscConfig(&RCC_OscInitStruct) != HAL_OK)
  {
    Error_Handler();
  }
  /** Initializes the CPU, AHB and APB buses clocks
  */
  RCC_ClkInitStruct.ClockType = RCC_CLOCKTYPE_HCLK|RCC_CLOCKTYPE_SYSCLK
                              |RCC_CLOCKTYPE_PCLK1|RCC_CLOCKTYPE_PCLK2;
  RCC_ClkInitStruct.SYSCLKSource = RCC_SYSCLKSOURCE_PLLCLK;
  RCC_ClkInitStruct.AHBCLKDivider = RCC_SYSCLK_DIV1;
  RCC_ClkInitStruct.APB1CLKDivider = RCC_HCLK_DIV2;
  RCC_ClkInitStruct.APB2CLKDivider = RCC_HCLK_DIV1;

  if (HAL_RCC_ClockConfig(&RCC_ClkInitStruct, FLASH_LATENCY_2) != HAL_OK)
  {
    Error_Handler();
  }
}

void Error_Handler(void)
{
  __disable_irq();
  while (1)
  {
  }
}

/************************ (C) COPYRIGHT STMicroelectronics *****END OF FILE****/
